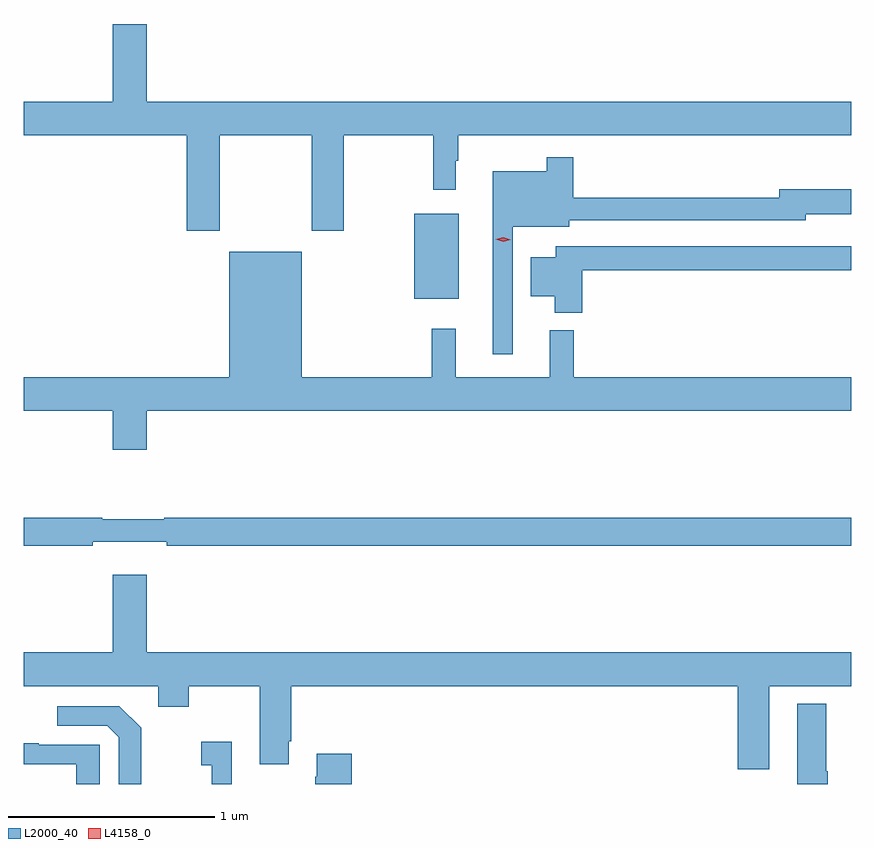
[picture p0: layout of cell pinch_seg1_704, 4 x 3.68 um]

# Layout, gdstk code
import gdstk
lib = gdstk.Library(unit=1e-6, precision=1e-09)
def R(c, l, rs):  # rectangles x0, y0, x1, y1
    for r in rs: c.add(gdstk.rectangle(r[:2], r[2:], *l))
def P(c, l, *ps):  # polygons
    for p in ps: c.add(gdstk.Polygon(p, *l))
L2000_40 = (2000, 40)
L4158_0 = (4158, 0)

pinch_seg1_704 = lib.new_cell('pinch_seg1_704')
R(pinch_seg1_704, L2000_40, [(693.938,577.583,694.153,577.993)])
P(pinch_seg1_704, L2000_40, [(692.644,578.911),(692.48,578.911),(692.48,578.536),(692.05,578.536),(692.05,578.372),(692.837,578.372),(692.837,577.911),(692.997,577.911),(692.997,578.372),(693.442,578.372),(693.442,577.911),(693.597,577.911),(693.597,578.372),(694.029,578.372),(694.029,578.109),(694.138,578.109),(694.138,578.249),(694.15,578.249),(694.15,578.372),(696.05,578.372),(696.05,578.536),(692.644,578.536)],
  [(694.413,577.931),(694.687,577.931),(694.687,577.962),(695.83,577.962),(695.83,577.991),(696.05,577.991),(696.05,578.113),(695.702,578.113),(695.702,578.071),(694.706,578.071),(694.706,578.266),(694.578,578.266),(694.578,578.2),(694.316,578.2),(694.316,577.314),(694.413,577.314)],
  [(694.751,577.72),(696.05,577.72),(696.05,577.837),(695.926,577.837),(695.926,577.836),(694.622,577.836),(694.622,577.783),(694.502,577.783),(694.502,577.595),(694.616,577.595),(694.616,577.514),(694.751,577.514)],
  [(692.644,577.04),(696.05,577.04),(696.05,577.204),(694.709,577.204),(694.709,577.429),(694.592,577.429),(694.592,577.204),(694.139,577.204),(694.139,577.438),(694.021,577.438),(694.021,577.204),(693.394,577.204),(693.394,577.81),(693.044,577.81),(693.044,577.204),(692.05,577.204),(692.05,577.04),(692.48,577.04),(692.48,576.852),(692.644,576.852)],
  [(692.384,576.407),(692.74,576.407),(692.74,576.388),(696.05,576.388),(696.05,576.524),(692.729,576.524),(692.729,576.517),(692.429,576.517),(692.429,576.524),(692.05,576.524),(692.05,576.388),(692.384,576.388)],
  [(695.653,575.708),(696.05,575.708),(696.05,575.872),(692.644,575.872),(692.644,576.247),(692.48,576.247),(692.48,575.872),(692.05,575.872),(692.05,575.708),(692.699,575.708),(692.699,575.609),(692.847,575.609),(692.847,575.708),(693.191,575.708),(693.191,575.331),(693.331,575.331),(693.331,575.443),(693.344,575.443),(693.344,575.708),(695.501,575.708),(695.501,575.307),(695.653,575.307)],
  [(695.937,575.297),(695.929,575.297),(695.929,575.623),(695.789,575.623),(695.789,575.236),(695.937,575.236)],
  [(692.617,575.507),(692.511,575.613),(692.211,575.613),(692.211,575.517),(692.454,575.517),(692.508,575.463),(692.508,575.236),(692.617,575.236)],
  [(693.055,575.44),(692.907,575.44),(692.907,575.327),(692.958,575.327),(692.958,575.236),(693.055,575.236)],
  [(692.418,575.427),(692.123,575.427),(692.123,575.432),(692.05,575.432),(692.05,575.331),(692.302,575.331),(692.302,575.236),(692.418,575.236)],
  [(693.635,575.383),(693.467,575.383),(693.467,575.27),(693.46,575.27),(693.46,575.236),(693.635,575.236)])
P(pinch_seg1_704, L4158_0, [(694.367,577.859),(694.332,577.87),(694.331,577.87),(694.332,577.87),(694.368,577.879),(694.403,577.867),(694.403,577.867),(694.403,577.867)])

lib.write_gds('pinch_seg1_704.gds')
